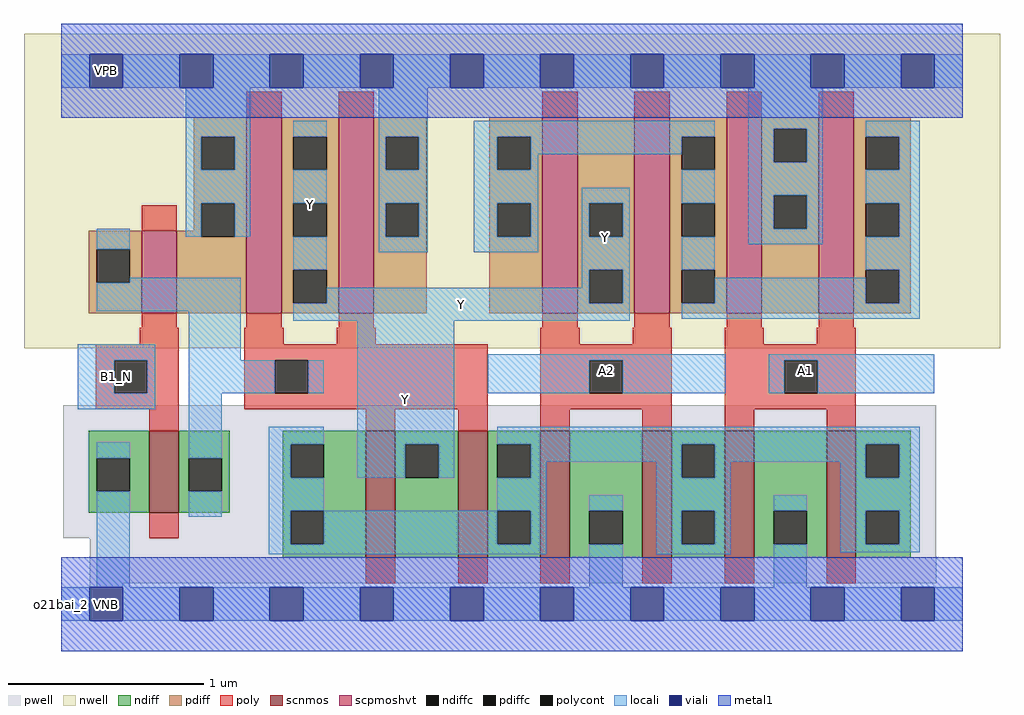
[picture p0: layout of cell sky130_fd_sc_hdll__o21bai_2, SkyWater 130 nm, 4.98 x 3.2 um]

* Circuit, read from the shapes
.subckt sky130_fd_sc_hdll__o21bai_2 A1 A2 B1_N VGND VNB VPB VPWR Y
XM1 n1 B1_N VGND VNB sky130_fd_pr__nfet_01v8 w=0.42 l=0.15
XM2 Y n1 n2 VNB sky130_fd_pr__nfet_01v8 w=0.65 l=0.15 m=2
XM3 VGND A2 n2 VNB sky130_fd_pr__nfet_01v8 w=0.65 l=0.15 m=2
XM4 VGND A1 n2 VNB sky130_fd_pr__nfet_01v8 w=0.65 l=0.15 m=2
XM5 VPWR B1_N n1 VPB sky130_fd_pr__pfet_01v8_hvt w=0.42 l=0.18
XM6 Y n1 VPWR VPB sky130_fd_pr__pfet_01v8_hvt w=1 l=0.18 m=2
XM7 Y A2 n3 VPB sky130_fd_pr__pfet_01v8_hvt w=1 l=0.18 m=2
XM8 VPWR A1 n3 VPB sky130_fd_pr__pfet_01v8_hvt w=1 l=0.18 m=2
.ends

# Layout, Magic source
magic
tech sky130A
magscale 1 2
<< nwell >>
rect -38 261 958 582
<< pwell >>
rect 2 67 893 203
rect 29 21 893 67
rect 29 -17 63 21
<< scnmos >>
rect 90 93 120 177
rect 311 47 341 177
rect 405 47 435 177
rect 489 47 519 177
rect 593 47 623 177
rect 677 47 707 177
rect 781 47 811 177
<< scpmoshvt >>
rect 82 297 118 381
rect 189 297 225 497
rect 283 297 319 497
rect 491 297 527 497
rect 585 297 621 497
rect 679 297 715 497
rect 773 297 809 497
<< ndiff >>
rect 28 149 90 177
rect 28 115 36 149
rect 70 115 90 149
rect 28 93 90 115
rect 120 149 172 177
rect 120 115 130 149
rect 164 115 172 149
rect 120 93 172 115
rect 226 163 311 177
rect 226 129 234 163
rect 268 129 311 163
rect 226 95 311 129
rect 226 61 234 95
rect 268 61 311 95
rect 226 47 311 61
rect 341 163 405 177
rect 341 129 351 163
rect 385 129 405 163
rect 341 47 405 129
rect 435 163 489 177
rect 435 129 445 163
rect 479 129 489 163
rect 435 95 489 129
rect 435 61 445 95
rect 479 61 489 95
rect 435 47 489 61
rect 519 95 593 177
rect 519 61 539 95
rect 573 61 593 95
rect 519 47 593 61
rect 623 163 677 177
rect 623 129 633 163
rect 667 129 677 163
rect 623 95 677 129
rect 623 61 633 95
rect 667 61 677 95
rect 623 47 677 61
rect 707 95 781 177
rect 707 61 727 95
rect 761 61 781 95
rect 707 47 781 61
rect 811 163 867 177
rect 811 129 821 163
rect 855 129 867 163
rect 811 95 867 129
rect 811 61 821 95
rect 855 61 867 95
rect 811 47 867 61
<< pdiff >>
rect 135 477 189 497
rect 135 443 143 477
rect 177 443 189 477
rect 135 409 189 443
rect 135 381 143 409
rect 28 362 82 381
rect 28 328 36 362
rect 70 328 82 362
rect 28 297 82 328
rect 118 375 143 381
rect 177 375 189 409
rect 118 297 189 375
rect 225 477 283 497
rect 225 443 237 477
rect 271 443 283 477
rect 225 409 283 443
rect 225 375 237 409
rect 271 375 283 409
rect 225 341 283 375
rect 225 307 237 341
rect 271 307 283 341
rect 225 297 283 307
rect 319 477 373 497
rect 319 443 331 477
rect 365 443 373 477
rect 319 409 373 443
rect 319 375 331 409
rect 365 375 373 409
rect 319 297 373 375
rect 437 477 491 497
rect 437 443 445 477
rect 479 443 491 477
rect 437 409 491 443
rect 437 375 445 409
rect 479 375 491 409
rect 437 297 491 375
rect 527 409 585 497
rect 527 375 539 409
rect 573 375 585 409
rect 527 341 585 375
rect 527 307 539 341
rect 573 307 585 341
rect 527 297 585 307
rect 621 477 679 497
rect 621 443 633 477
rect 667 443 679 477
rect 621 409 679 443
rect 621 375 633 409
rect 667 375 679 409
rect 621 341 679 375
rect 621 307 633 341
rect 667 307 679 341
rect 621 297 679 307
rect 715 485 773 497
rect 715 451 727 485
rect 761 451 773 485
rect 715 417 773 451
rect 715 383 727 417
rect 761 383 773 417
rect 715 297 773 383
rect 809 477 867 497
rect 809 443 821 477
rect 855 443 867 477
rect 809 409 867 443
rect 809 375 821 409
rect 855 375 867 409
rect 809 341 867 375
rect 809 307 821 341
rect 855 307 867 341
rect 809 297 867 307
<< ndiffc >>
rect 36 115 70 149
rect 130 115 164 149
rect 234 129 268 163
rect 234 61 268 95
rect 351 129 385 163
rect 445 129 479 163
rect 445 61 479 95
rect 539 61 573 95
rect 633 129 667 163
rect 633 61 667 95
rect 727 61 761 95
rect 821 129 855 163
rect 821 61 855 95
<< pdiffc >>
rect 143 443 177 477
rect 36 328 70 362
rect 143 375 177 409
rect 237 443 271 477
rect 237 375 271 409
rect 237 307 271 341
rect 331 443 365 477
rect 331 375 365 409
rect 445 443 479 477
rect 445 375 479 409
rect 539 375 573 409
rect 539 307 573 341
rect 633 443 667 477
rect 633 375 667 409
rect 633 307 667 341
rect 727 451 761 485
rect 727 383 761 417
rect 821 443 855 477
rect 821 375 855 409
rect 821 307 855 341
<< poly >>
rect 189 497 225 523
rect 283 497 319 523
rect 491 497 527 523
rect 585 497 621 523
rect 679 497 715 523
rect 773 497 809 523
rect 82 381 118 407
rect 82 282 118 297
rect 189 282 225 297
rect 283 282 319 297
rect 491 282 527 297
rect 585 282 621 297
rect 679 282 715 297
rect 773 282 809 297
rect 80 265 120 282
rect 35 249 120 265
rect 35 215 54 249
rect 88 215 120 249
rect 35 199 120 215
rect 187 265 227 282
rect 281 265 321 282
rect 489 265 529 282
rect 583 265 623 282
rect 187 249 435 265
rect 187 215 218 249
rect 252 215 435 249
rect 187 199 435 215
rect 90 177 120 199
rect 311 177 341 199
rect 405 177 435 199
rect 489 249 623 265
rect 489 215 539 249
rect 573 215 623 249
rect 489 199 623 215
rect 489 177 519 199
rect 593 177 623 199
rect 677 265 717 282
rect 771 265 811 282
rect 677 249 811 265
rect 677 215 738 249
rect 772 215 811 249
rect 677 199 811 215
rect 677 177 707 199
rect 781 177 811 199
rect 90 67 120 93
rect 311 21 341 47
rect 405 21 435 47
rect 489 21 519 47
rect 593 21 623 47
rect 677 21 707 47
rect 781 21 811 47
<< polycont >>
rect 54 215 88 249
rect 218 215 252 249
rect 539 215 573 249
rect 738 215 772 249
<< locali >>
rect 0 527 29 561
rect 63 527 121 561
rect 155 527 213 561
rect 247 527 305 561
rect 339 527 397 561
rect 431 527 489 561
rect 523 527 581 561
rect 615 527 673 561
rect 707 527 765 561
rect 799 527 857 561
rect 891 527 920 561
rect 127 477 193 527
rect 127 443 143 477
rect 177 443 193 477
rect 127 409 193 443
rect 36 362 70 383
rect 127 375 143 409
rect 177 375 193 409
rect 237 477 271 493
rect 237 409 271 443
rect 237 341 271 375
rect 324 477 374 527
rect 324 443 331 477
rect 365 443 374 477
rect 324 409 374 443
rect 324 375 331 409
rect 365 375 374 409
rect 324 359 374 375
rect 421 477 667 493
rect 421 443 445 477
rect 479 459 633 477
rect 479 443 487 459
rect 421 409 487 443
rect 421 375 445 409
rect 479 375 487 409
rect 421 359 487 375
rect 531 409 580 425
rect 531 375 539 409
rect 573 375 580 409
rect 70 328 183 333
rect 36 299 183 328
rect 17 249 96 265
rect 17 215 54 249
rect 88 215 96 249
rect 17 199 96 215
rect 130 249 183 299
rect 531 341 580 375
rect 531 323 539 341
rect 271 307 539 323
rect 573 307 580 341
rect 237 289 580 307
rect 633 409 667 443
rect 633 341 667 375
rect 701 485 777 527
rect 701 451 727 485
rect 761 451 777 485
rect 701 417 777 451
rect 701 383 727 417
rect 761 383 777 417
rect 701 367 777 383
rect 821 477 876 493
rect 855 443 876 477
rect 821 409 876 443
rect 855 375 876 409
rect 821 341 876 375
rect 667 307 821 333
rect 855 307 876 341
rect 633 291 876 307
rect 130 215 218 249
rect 252 215 268 249
rect 36 149 70 165
rect 36 17 70 115
rect 130 149 164 215
rect 130 89 164 115
rect 212 163 268 181
rect 212 129 234 163
rect 302 163 401 289
rect 435 249 678 255
rect 435 215 539 249
rect 573 215 678 249
rect 722 249 891 255
rect 722 215 738 249
rect 772 215 891 249
rect 302 129 351 163
rect 385 129 401 163
rect 445 163 876 181
rect 479 145 633 163
rect 479 129 495 145
rect 212 95 268 129
rect 445 95 495 129
rect 607 129 633 145
rect 667 145 821 163
rect 667 129 683 145
rect 212 61 234 95
rect 268 61 445 95
rect 479 61 495 95
rect 212 51 495 61
rect 539 95 573 111
rect 539 17 573 61
rect 607 95 683 129
rect 795 129 821 145
rect 855 129 876 163
rect 607 61 633 95
rect 667 61 683 95
rect 607 51 683 61
rect 727 95 761 111
rect 727 17 761 61
rect 795 95 876 129
rect 795 61 821 95
rect 855 61 876 95
rect 795 53 876 61
rect 0 -17 29 17
rect 63 -17 121 17
rect 155 -17 213 17
rect 247 -17 305 17
rect 339 -17 397 17
rect 431 -17 489 17
rect 523 -17 581 17
rect 615 -17 673 17
rect 707 -17 765 17
rect 799 -17 857 17
rect 891 -17 920 17
<< viali >>
rect 29 527 63 561
rect 121 527 155 561
rect 213 527 247 561
rect 305 527 339 561
rect 397 527 431 561
rect 489 527 523 561
rect 581 527 615 561
rect 673 527 707 561
rect 765 527 799 561
rect 857 527 891 561
rect 29 -17 63 17
rect 121 -17 155 17
rect 213 -17 247 17
rect 305 -17 339 17
rect 397 -17 431 17
rect 489 -17 523 17
rect 581 -17 615 17
rect 673 -17 707 17
rect 765 -17 799 17
rect 857 -17 891 17
<< metal1 >>
rect 0 561 920 592
rect 0 527 29 561
rect 63 527 121 561
rect 155 527 213 561
rect 247 527 305 561
rect 339 527 397 561
rect 431 527 489 561
rect 523 527 581 561
rect 615 527 673 561
rect 707 527 765 561
rect 799 527 857 561
rect 891 527 920 561
rect 0 496 920 527
rect 0 17 920 48
rect 0 -17 29 17
rect 63 -17 121 17
rect 155 -17 213 17
rect 247 -17 305 17
rect 339 -17 397 17
rect 431 -17 489 17
rect 523 -17 581 17
rect 615 -17 673 17
rect 707 -17 765 17
rect 799 -17 857 17
rect 891 -17 920 17
rect 0 -48 920 -17
<< labels >>
flabel locali s 17 199 96 265 0 FreeSans 200 0 0 0 B1_N
port 3 nsew signal input
flabel locali s 531 323 580 425 0 FreeSans 400 0 0 0 Y
port 8 nsew signal output
flabel locali s 539 221 573 255 0 FreeSans 400 180 0 0 A2
port 2 nsew signal input
flabel locali s 743 221 777 255 0 FreeSans 400 180 0 0 A1
port 1 nsew signal input
flabel pwell s 29 -17 63 17 0 FreeSans 200 0 0 0 VNB
port 5 nsew ground bidirectional
flabel nwell s 29 527 63 561 0 FreeSans 200 0 0 0 VPB
port 6 nsew power bidirectional
flabel metal1 s 29 -17 63 17 0 FreeSans 200 0 0 0 VGND
port 4 nsew ground bidirectional
flabel metal1 s 29 527 63 561 0 FreeSans 200 0 0 0 VPWR
port 7 nsew power bidirectional
rlabel comment s 0 0 0 0 4 o21bai_2
rlabel locali s 302 129 401 289 1 Y
port 8 nsew signal output
rlabel locali s 237 323 271 493 1 Y
port 8 nsew signal output
rlabel locali s 237 289 580 323 1 Y
port 8 nsew signal output
<< properties >>
string LEFsite unithd
string LEFclass CORE
string FIXED_BBOX 0 0 920 544
string GDS_FILE $PDKPATH/libs.ref/sky130_fd_sc_hdll/gds/sky130_fd_sc_hdll.gds
string LEFsymmetry X Y R90
string GDS_END 2465404
string GDS_START 2457996
string LEFproperties maskLayoutSubType "abstract" prCellType "standard" originalViewName "layout"
<< end >>
